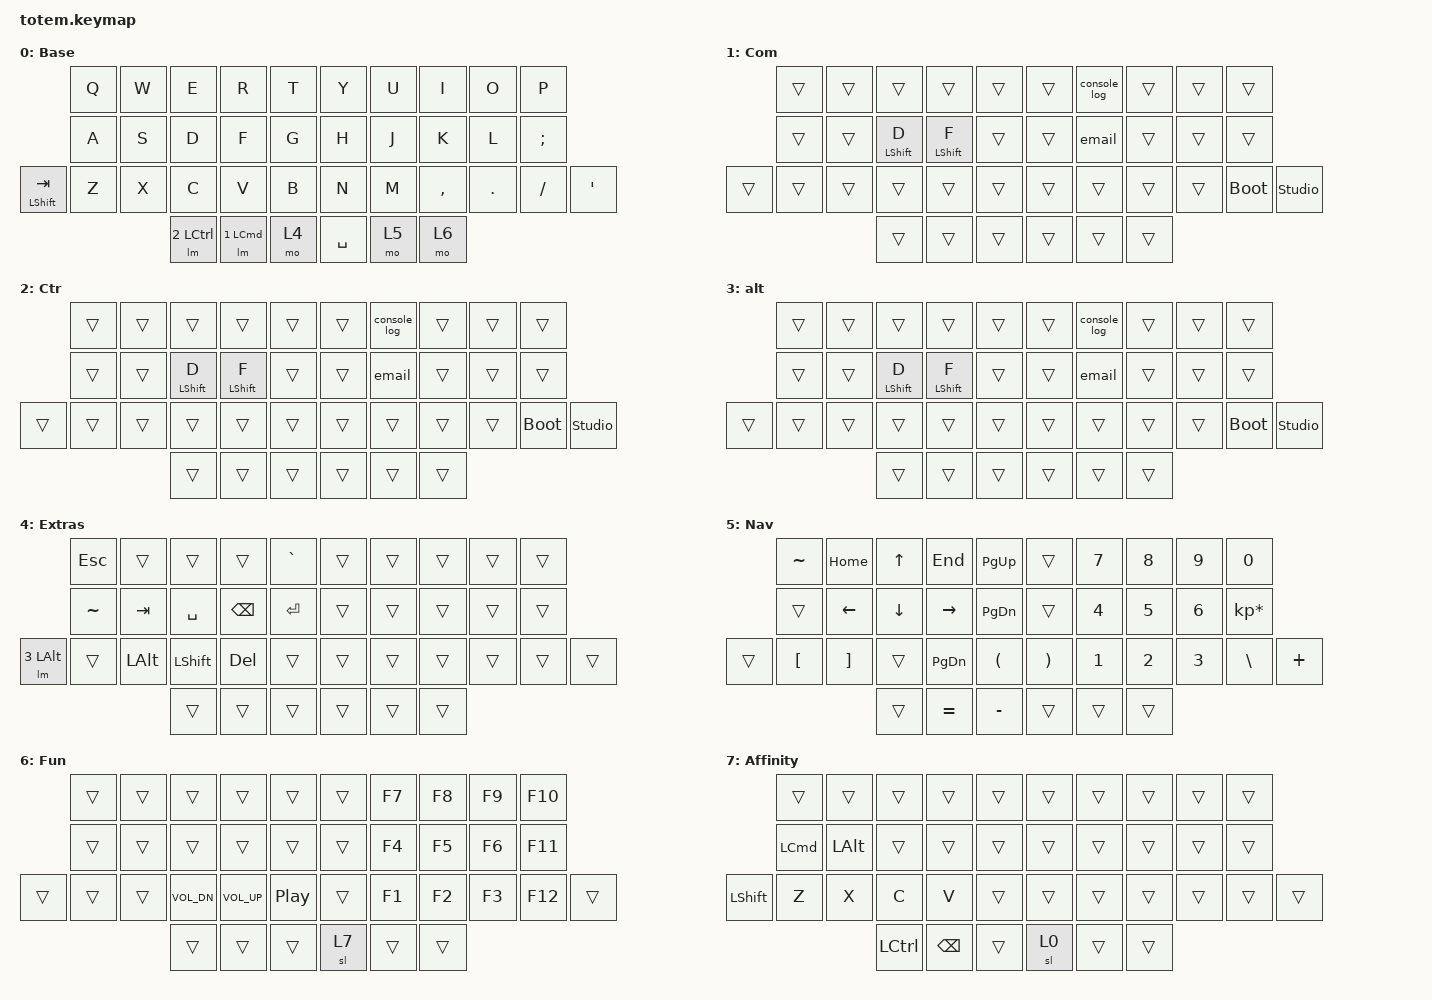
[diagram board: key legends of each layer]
//
//                                                        ▀▀▀▀▀     ▀▀▀▀▀          ▀▀█▀▀
//                                                        ▄▀▀▀▄  ▄  ▄▀▀▀▄  ▄  ▄▀▀▀▄  █  ▄▀▀▀▄
//                                                        █   █  █  █   █  █  █   █  █  █   █
//                                                         ▀▀▀   █   ▀▀▀   █   ▀▀▀   ▀   ▀▀▀
//                                                               █      ▄▄▄█▄▄▄    █   █  
//                                                               ▀      █  █  █     █▄█
//                                                             ▀▀▀▀▀    █  █  █      ▀
//                                                                      ▀  ▀  ▀
//
// ▄▄▄▄▄▄▄▄▄▄▄▄▄▄▄▄▄▄▄▄▄▄▄▄▄▄▄▄▄▄▄▄▄▄▄▄▄▄▄▄▄▄▄▄▄▄▄▄▄▄▄▄▄▄▄▄▄▄▄▄▄▄▄▄▄▄▄▄▄▄▄▄▄▄▄▄▄▄▄▄▄▄▄▄▄▄▄▄▄▄▄▄▄▄▄▄▄▄▄▄▄▄▄▄▄▄▄▄▄▄▄▄▄▄▄▄▄▄▄▄▄▄▄▄▄▄▄▄▄▄▄▄▄▄▄▄▄▄▄▄▄▄▄▄▄▄▄▄▄

#include <behaviors.dtsi>
#include <dt-bindings/zmk/keys.h>

#define Base        0
#define Nav         1
#define Sym         2
#define Fun         3
#define Game        4
#define Gameplus    5

&mt {
    quick-tap-ms = <100>;
    global-quick-tap;
    flavor = "tap-preferred";
    tapping-term-ms = <170>;
};

&lt {
    tapping-term-ms = <240>;
    flavor = "balanced";
    quick-tap-ms = <150>;
};

&tog {
};

/ {
    behaviors {
        hm: homerow_mods {
            compatible = "zmk,behavior-hold-tap";
            label = "HOMEROW_MODS";
            #binding-cells = <2>;
            flavor = "tap-preferred";
            tapping-term-ms = <200>;
            quick-tap-ms = <125>;
            global-quick-tap;
            bindings = <&kp>, <&kp>;
        };

        /**
         * Temporarily switches to a layer (`&mo`) while a modifier is held.
         * Analogous to QMK's `LM()`, using a parameterized macro.
         *
         * Params:
         *  1. Layer to switch to
         *  2. Modifier to press while layer is active
         *
         * Example:
         *  `&lm NUM_LAYER LSHIFT`
         */

        lm: lm {
            compatible = "zmk,behavior-macro-two-param";
            wait-ms = <0>;
            tap-ms = <0>;
            #binding-cells = <2>;
            bindings =
                <&macro_param_1to1>,
                <&macro_press>,
                <&mo MACRO_PLACEHOLDER &macro_param_2to1>,
                <&macro_press>,
                <&kp MACRO_PLACEHOLDER>,
                <&macro_pause_for_release>,
                <&macro_param_2to1>,
                <&macro_release>,
                <&kp MACRO_PLACEHOLDER &macro_param_1to1>,
                <&macro_release>,
                <&mo MACRO_PLACEHOLDER>;
        };
    };

    combos { compatible = "zmk,combos"; };

    macros {
        email: email {
            compatible = "zmk,behavior-macro";
            #binding-cells = <0>;
            bindings = <&none &kp J &kp A &kp K &kp E &kp DOT &kp B &kp A &kp L &kp E &kp S &kp N7 &kp N2 &kp AT &kp G &kp M &kp A &kp I &kp L &kp DOT &kp C &kp O &kp M>;
            label = "EMAIL";
        };

        console_log: console_log {
            compatible = "zmk,behavior-macro";
            #binding-cells = <0>;
            bindings = <&none &kp C &kp O &kp N &kp S &kp O &kp L &kp E &kp DOT &kp L &kp O &kp G &kp LPAR &kp SQT &kp K_PASTE &kp SQT &kp RPAR>;
            label = "CONSOLE_LOG";
        };
    };

    keymap {
        compatible = "zmk,keymap";

        Base {
            display-name = "Base";
            bindings = <
                    &kp Q  &kp W  &kp E               &kp R               &kp T    &kp Y      &kp U  &kp I      &kp O    &kp P
                    &kp A  &kp S  &kp D               &kp F               &kp G    &kp H      &kp J  &kp K      &kp L    &kp SEMICOLON
&hm LEFT_SHIFT TAB  &kp Z  &kp X  &kp C               &kp V               &kp B    &kp N      &kp M  &kp COMMA  &kp DOT  &kp SLASH      &kp APOSTROPHE
                                  &lm 2 LEFT_CONTROL  &lm 1 LEFT_COMMAND  &mo 4    &kp SPACE  &mo 5  &mo 6
            >;
        };

        Command {
            display-name = "Com";
            bindings = <
        &trans  &trans  &trans            &trans        &trans    &trans  &console_log  &trans  &trans  &trans
        &trans  &trans  &hm LEFT_SHIFT D  &hm LSHIFT F  &trans    &trans  &email        &trans  &trans  &trans
&trans  &trans  &trans  &trans            &trans        &trans    &trans  &trans        &trans  &trans  &bootloader  &studio_unlock
                        &trans            &trans        &trans    &trans  &trans        &trans
            >;
        };

        Control {
            display-name = "Ctr";
            bindings = <
        &trans  &trans  &trans            &trans        &trans    &trans  &console_log  &trans  &trans  &trans
        &trans  &trans  &hm LEFT_SHIFT D  &hm LSHIFT F  &trans    &trans  &email        &trans  &trans  &trans
&trans  &trans  &trans  &trans            &trans        &trans    &trans  &trans        &trans  &trans  &bootloader  &studio_unlock
                        &trans            &trans        &trans    &trans  &trans        &trans
            >;
        };

        alt {
            display-name = "alt";
            bindings = <
        &trans  &trans  &trans            &trans        &trans    &trans  &console_log  &trans  &trans  &trans
        &trans  &trans  &hm LEFT_SHIFT D  &hm LSHIFT F  &trans    &trans  &email        &trans  &trans  &trans
&trans  &trans  &trans  &trans            &trans        &trans    &trans  &trans        &trans  &trans  &bootloader  &studio_unlock
                        &trans            &trans        &trans    &trans  &trans        &trans
            >;
        };

        Extras {
            bindings = <
                &kp ESCAPE  &trans        &trans          &trans         &kp GRAVE    &trans  &trans  &trans  &trans  &trans
                &kp TILDE   &kp TAB       &kp SPACE       &kp BACKSPACE  &kp ENTER    &trans  &trans  &trans  &trans  &trans
&lm 3 LEFT_ALT  &trans      &kp LEFT_ALT  &kp LEFT_SHIFT  &kp DELETE     &trans       &trans  &trans  &trans  &trans  &trans  &trans
                                          &trans          &trans         &trans       &trans  &trans  &trans
            >;
        };

        Nav {
            display-name = "Nav";
            bindings = <
        &kp TILDE         &kp HOME           &kp UP_ARROW  &kp END        &kp PAGE_UP      &trans    &kp NUMBER_7  &kp NUMBER_8  &kp NUMBER_9  &kp NUMBER_0
        &trans            &kp LEFT           &kp DOWN      &kp RIGHT      &kp PAGE_DOWN    &trans    &kp NUMBER_4  &kp NUMBER_5  &kp NUMBER_6  &kp KP_ASTERISK
&trans  &kp LEFT_BRACKET  &kp RIGHT_BRACKET  &trans        &kp PAGE_DOWN  &kp LPAR         &kp RPAR  &kp NUMBER_1  &kp NUMBER_2  &kp NUMBER_3  &kp BACKSLASH    &kp PLUS
                                             &trans        &kp EQUAL      &kp MINUS        &trans    &trans        &trans
            >;
        };

        Fun {
            display-name = "Fun";
            bindings = <
        &trans  &trans  &trans        &trans           &trans              &trans  &kp F7  &kp F8  &kp F9  &kp F10
        &trans  &trans  &trans        &trans           &trans              &trans  &kp F4  &kp F5  &kp F6  &kp F11
&trans  &trans  &trans  &kp C_VOL_DN  &kp C_VOLUME_UP  &kp C_PLAY_PAUSE    &trans  &kp F1  &kp F2  &kp F3  &kp F12  &trans
                        &trans        &trans           &trans              &sl 7   &trans  &trans
            >;
        };

        Affinity {
            bindings = <
                &trans            &trans        &trans            &trans         &trans    &trans  &trans  &trans  &trans  &trans
                &kp LEFT_COMMAND  &kp LEFT_ALT  &trans            &trans         &trans    &trans  &trans  &trans  &trans  &trans
&kp LEFT_SHIFT  &kp Z             &kp X         &kp C             &kp V          &trans    &trans  &trans  &trans  &trans  &trans  &trans
                                                &kp LEFT_CONTROL  &kp BACKSPACE  &trans    &sl 0   &trans  &trans
            >;
        };
    };
};
